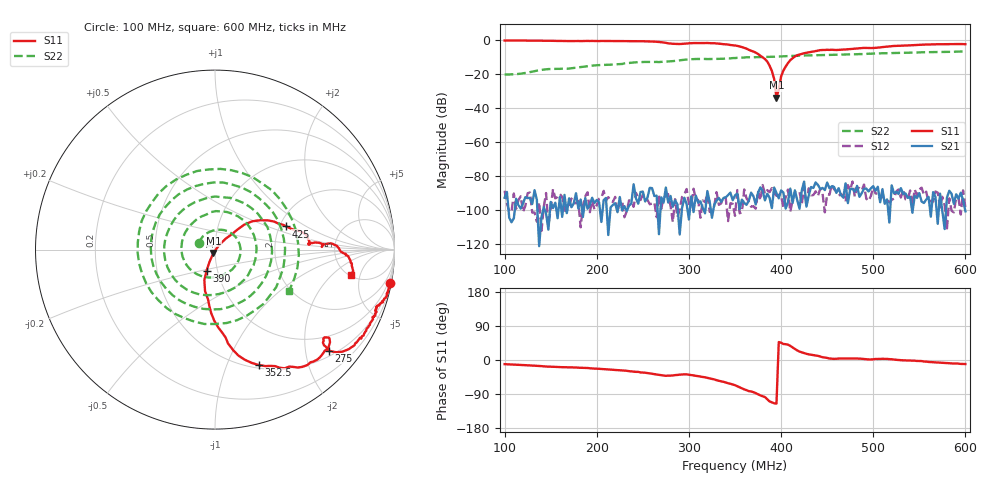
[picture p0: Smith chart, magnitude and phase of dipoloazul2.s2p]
! Exportado en formato Magnitud (lineal) y Fase (grados)
# GHz S MA R 50
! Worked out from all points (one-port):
!   201 points, 100 MHz to 600 MHz, reference 50 ohm
!   lowest |S11| = -33.9 dB at 395 MHz (marker M1), VSWR 1.04, Z = 49.1 - j1.8 ohm
!   |S11| at or under -10 dB: 380 MHz to 413.7 MHz (33.73 MHz wide, 8.5 % of centre)
!   S11 on the Smith chart (normalised r, x): 100 MHz: 0, -10; 275 MHz: 0.63, -2.50; 352.5 MHz: 0.53, -1.31; 390 MHz: 0.89, -0.21; 425 MHz: 2.17, +0.68; 600 MHz: 5.16, -3.66
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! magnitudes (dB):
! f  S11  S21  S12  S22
! 100 MHz  -0.1  -92.9  -88.7  -20.1
! 185 MHz  -0.4  -104.2  -97.7  -15.6
! 245 MHz  -0.5  -96.4  -93.2  -12.9
! 267.5 MHz  -0.9  -114.4  -91.1  -12.8
! 275 MHz  -1.4  -86.9  -91.9  -12.6
! 327.5 MHz  -1.7  -97.0  -97.8  -10.9
! 350 MHz  -3.0  -91.6  -103.6  -10.4
! 352.5 MHz  -3.2  -90.4  -88.4  -10.3
! 377.5 MHz  -9.0  -86.8  -94.4  -9.9
! 385 MHz  -12.5  -90.5  -88.4  -9.8
! 390 MHz  -18.0  -99.0  -87.2  -9.7
! 392.5 MHz  -22.8  -86.8  -89.8  -9.6
! 395 MHz  -33.9  -90.2  -91.7  -9.5
! 397.5 MHz  -28.9  -93.2  -91.2  -9.5
! 400 MHz  -21.4  -88.6  -91.6  -9.5
! 405 MHz  -15.4  -99.3  -92.6  -9.3
! 410 MHz  -11.7  -87.5  -101.2  -9.2
! 415 MHz  -9.5  -88.5  -89.6  -9.1
! 425 MHz  -7.6  -83.3  -86.4  -8.9
! 435 MHz  -6.6  -87.1  -91.3  -8.7
! 517.5 MHz  -3.6  -107.5  -95.7  -7.5
! 600 MHz  -2.2  -100.9  -98.8  -6.5
